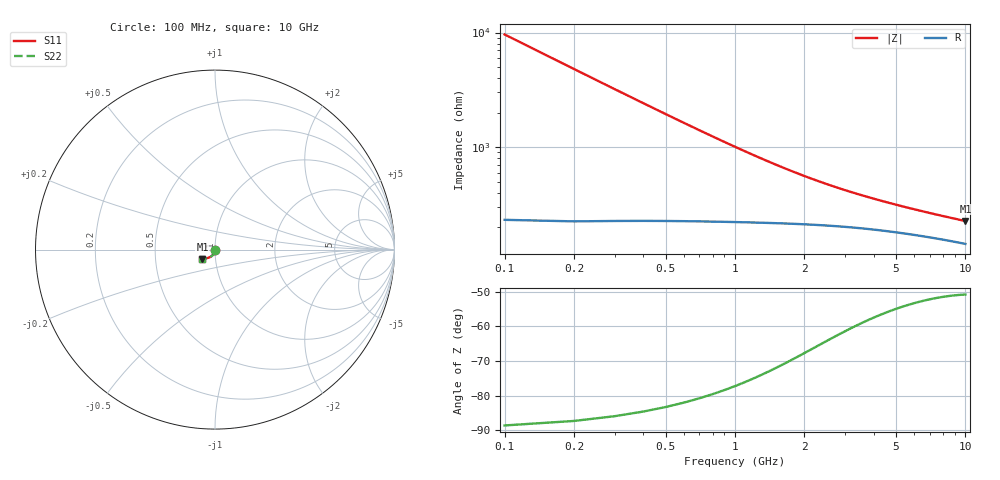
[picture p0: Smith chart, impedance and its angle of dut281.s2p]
! Touchstone file exported from HFSS 2024.1.0
!  File:  C:/UserFiles/LocalFiles/RDL_TSV_Batchsim/temp_TSV1_281_1778770305.aedt
!  Generated:  10:55:22 PM May 14, 2026
!  Design:  TSV1
!  Project:  temp_TSV1_281_1778770305
!  Setup:  Setup1
!  Solution:  Sweep
! Variables:
!  dtsv = 17.07um
!  hbump = 3um
!  htsv = 79.86um
!  lrdl = 252.1521522um
!  p = 40
!  p1 = 43.83um
!  t = 500um
!  trdl = 3um
!  wrdl = 24.89489489um
# GHz S MA R 50.000000
! Terminal data exported
! Port[1] = TSV22_T1
! Port[2] = TSV22_T2
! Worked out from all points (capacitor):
!   100 points, 100 MHz to 10 GHz, reference 50 ohm
!   read as one part in shunt: C = 165 fF near 100 MHz
!   lowest |Z| = 227 ohm at 10 GHz (marker M1)
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0.1  0.002321 -89.6  0.9998 -0.2  0.9998 -0.2  0.002321 -89.6
! Gamma 0 0 0 0
! Port Impedance 50 0 50 0
0.2  0.004657 -92.0  0.9996 -0.3  0.9996 -0.3  0.004657 -92.0
0.3  0.006983 -93.9  0.9993 -0.5  0.9993 -0.5  0.006983 -93.9
0.4  0.009286 -95.6  0.9988 -0.6  0.9988 -0.6  0.009286 -95.6
0.5  0.01156 -97.3  0.9982 -0.8  0.9982 -0.8  0.01156 -97.3
0.6  0.0138 -98.9  0.9976 -1.0  0.9976 -1.0  0.0138 -98.9
0.7  0.01599 -100.5  0.9968 -1.1  0.9968 -1.1  0.01599 -100.5
0.8  0.01814 -102.0  0.996 -1.2  0.996 -1.2  0.01814 -102.0
0.9  0.02024 -103.4  0.995 -1.4  0.995 -1.4  0.02024 -103.4
1.1  0.02428 -106.2  0.993 -1.6  0.993 -1.6  0.02428 -106.2
1.4  0.02989 -110.1  0.9896 -2.0  0.9896 -2.0  0.02989 -110.1
1.6  0.03333 -112.5  0.9872 -2.2  0.9872 -2.2  0.03333 -112.5
1.8  0.03654 -114.7  0.9848 -2.4  0.9848 -2.4  0.03654 -114.7
2.1  0.04093 -117.7  0.9811 -2.7  0.9811 -2.7  0.04093 -117.7
2.5  0.04608 -121.2  0.9764 -3.0  0.9764 -3.0  0.04608 -121.2
2.9  0.05054 -124.2  0.9721 -3.2  0.9721 -3.2  0.05054 -124.2
3.4  0.05536 -127.2  0.9671 -3.5  0.9671 -3.5  0.05536 -127.2
4.2  0.06175 -131.1  0.9603 -3.9  0.9603 -3.9  0.06175 -131.1
5.1  0.06759 -134.3  0.9538 -4.3  0.9538 -4.3  0.06759 -134.3
6.7  0.07574 -138.3  0.9449 -4.8  0.9449 -4.8  0.07574 -138.3
8.4  0.08239 -141.1  0.9376 -5.4  0.9376 -5.4  0.08239 -141.1
10  0.08742 -143.0  0.9323 -5.9  0.9323 -5.9  0.08742 -143.0
